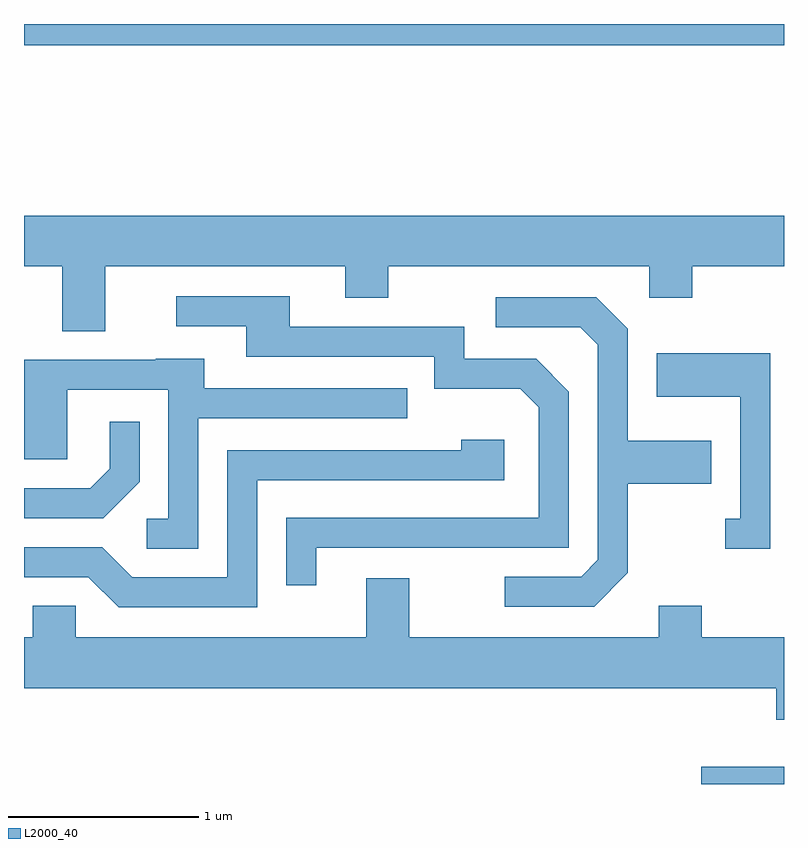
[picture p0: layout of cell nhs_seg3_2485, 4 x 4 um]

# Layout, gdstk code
import gdstk
lib = gdstk.Library(unit=1e-6, precision=1e-09)
def R(c, l, rs):  # rectangles x0, y0, x1, y1
    for r in rs: c.add(gdstk.rectangle(r[:2], r[2:], *l))
def P(c, l, *ps):  # polygons
    for p in ps: c.add(gdstk.Polygon(p, *l))
L2000_40 = (2000, 40)

nhs_seg3_2485 = lib.new_cell('nhs_seg3_2485')
R(nhs_seg3_2485, L2000_40, [(261.176,1189.892,261.611,1189.984), (257.611,1193.781,261.611,1193.892)])
P(nhs_seg3_2485, L2000_40, [(258.039,1192.616),(259.301,1192.616),(259.301,1192.451),(259.529,1192.451),(259.529,1192.616),(260.901,1192.616),(260.901,1192.451),(261.129,1192.451),(261.129,1192.616),(261.611,1192.616),(261.611,1192.884),(257.611,1192.884),(257.611,1192.616),(257.811,1192.616),(257.811,1192.276),(258.039,1192.276)],
  [(259.149,1191.136),(260.479,1191.136),(260.479,1191.957),(260.307,1192.129),(259.929,1192.129),(259.929,1192.299),(259.009,1192.299),(259.009,1192.459),(258.413,1192.459),(258.413,1192.301),(258.781,1192.301),(258.781,1192.141),(259.771,1192.141),(259.771,1191.971),(260.224,1191.971),(260.321,1191.874),(260.321,1191.294),(258.991,1191.294),(258.991,1190.938),(259.149,1190.938)],
  [(260.789,1191.004),(260.789,1191.471),(261.229,1191.471),(261.229,1191.699),(260.789,1191.699),(260.789,1192.287),(260.622,1192.454),(260.093,1192.454),(260.093,1192.296),(260.539,1192.296),(260.631,1192.204),(260.631,1191.072),(260.544,1190.984),(260.142,1190.984),(260.142,1190.826),(260.611,1190.826)],
  [(261.539,1192.159),(260.941,1192.159),(260.941,1191.931),(261.381,1191.931),(261.381,1191.289),(261.303,1191.289),(261.303,1191.131),(261.539,1191.131)],
  [(258.529,1191.816),(259.628,1191.816),(259.628,1191.974),(258.559,1191.974),(258.559,1192.129),(258.305,1192.129),(258.305,1192.124),(257.611,1192.124),(257.611,1191.601),(257.839,1191.601),(257.839,1191.966),(258.371,1191.966),(258.371,1191.289),(258.258,1191.289),(258.258,1191.131),(258.529,1191.131)],
  [(258.219,1191.484),(258.219,1191.798),(258.061,1191.798),(258.061,1191.552),(257.959,1191.449),(257.611,1191.449),(257.611,1191.291),(258.027,1191.291)],
  [(258.839,1191.491),(260.139,1191.491),(260.139,1191.704),(259.911,1191.704),(259.911,1191.649),(258.681,1191.649),(258.681,1190.979),(258.182,1190.979),(258.022,1191.139),(257.611,1191.139),(257.611,1190.981),(257.949,1190.981),(258.109,1190.821),(258.839,1190.821)],
  [(261.611,1190.664),(261.179,1190.664),(261.179,1190.829),(260.951,1190.829),(260.951,1190.664),(259.639,1190.664),(259.639,1190.974),(259.411,1190.974),(259.411,1190.664),(257.884,1190.664),(257.884,1190.829),(257.656,1190.829),(257.656,1190.664),(257.611,1190.664),(257.611,1190.396),(261.571,1190.396),(261.571,1190.231),(261.611,1190.231)])

lib.write_gds('nhs_seg3_2485.gds')
